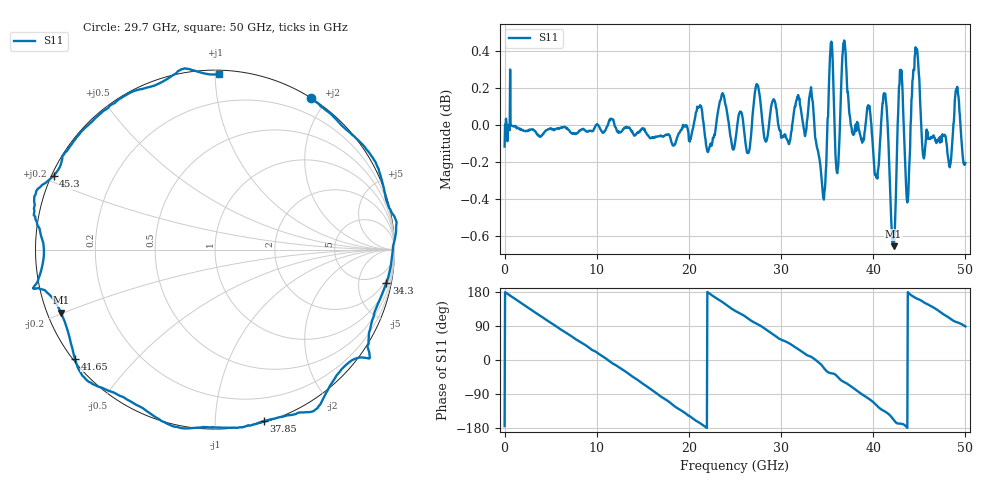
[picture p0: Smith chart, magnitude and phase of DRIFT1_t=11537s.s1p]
!Created with skrf (http://scikit-rf.org).
# Hz S RI R 50.0
!freq ReS11 ImS11
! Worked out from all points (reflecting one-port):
!   1001 points, 300 kHz to 50 GHz, reference 50 ohm
!   lowest |S11| = -0.7 dB at 42.2 GHz (marker M1), VSWR 26.57, Z = 1.95 - j9.83 ohm
!   phase of S11 starts at -175 deg and turns -817 deg over the sweep
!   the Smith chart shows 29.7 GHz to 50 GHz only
!   S11 on the Smith chart (normalised r, x): 29.7 GHz: 0.00, +1.82; 34.3 GHz: 1, -10; 37.85 GHz: 0.01, -1.32; 41.65 GHz: 0.01, -0.34; 45.3 GHz: 0.01, +0.22; 50 GHz: 0.02, +1.03
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300000  -0.9821 -0.0939
1.500291e9  -0.9056 0.4187
3.30028e9  -0.5803 0.8095
6.250262e9  0.2025 0.9778
9.500243e9  0.8922 0.4428
1.250022e10  0.9317 -0.3499
1.580021e10  0.237 -0.9629
1.73502e10  -0.2119 -0.9704
1.875019e10  -0.5984 -0.7919
2.150017e10  -0.9928 -0.1496
2.350016e10  -0.9224 0.4281
2.500015e10  -0.6333 0.7593
2.740014e10  -0.0936 1.021
2.970012e10  0.5364 0.8438
3.125011e10  0.7865 0.6198
3.31001e10  1.003 0.1761
3.430009e10  0.9553 -0.1849
3.520009e10  0.857 -0.5648
3.750008e10  0.3747 -0.9316
3.785007e10  0.2713 -0.9559
3.960006e10  -0.2369 -0.9835
4.165005e10  -0.7809 -0.607
4.220005e10  -0.8583 -0.3515
4.290004e10  -1.011 -0.2185
4.375004e10  -0.9543 0.0131
4.530003e10  -0.8994 0.4107
4.775001e10  -0.4782 0.8712
5e10  0.0245 0.9762
